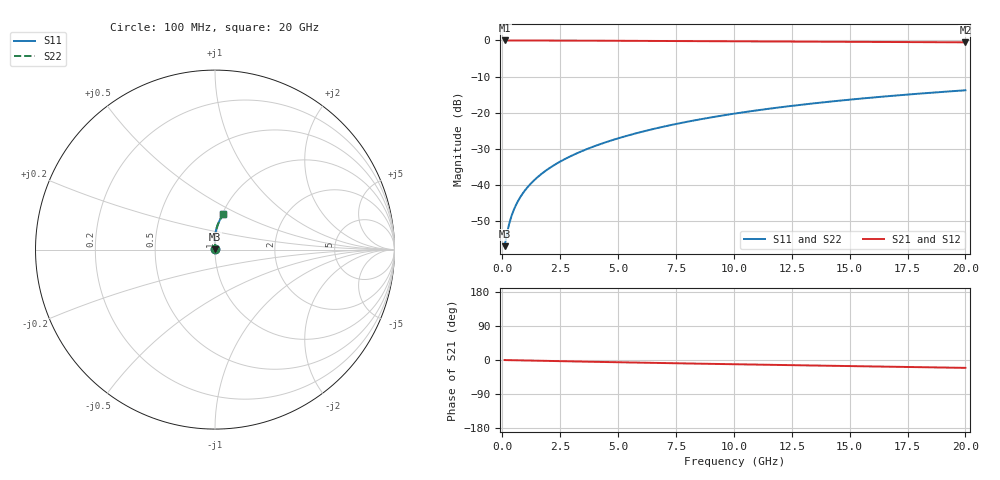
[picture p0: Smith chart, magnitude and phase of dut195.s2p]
! Touchstone file exported from HFSS 2024.1.0
!  File:  C:/UserFiles/LocalFiles/RDL_TSV_Batchsim/temp_RDL_top_195_1778686766.aedt
!  Generated:  11:41:40 PM May 13, 2026
!  Design:  RDL_top
!  Project:  temp_RDL_top_195_1778686766
!  Setup:  Setup1
!  Solution:  Sweep
! Variables:
!  dtsv = 10.80580581um
!  hbump = 3um
!  htsv = 90.23um
!  ldown = 100um
!  lrdl = 272.56um
!  p = 40
!  p1 = 53.72um
!  rhole = 1um
!  t = 450um
!  tdown = 3.915915916um
!  trdl = 4.2um
!  wdown = 15.38538539um
!  wrdl = 26.26um
# GHz S MA R 50.000000
! Terminal data exported
! Port[1] = Box2_T1
! Port[2] = Box2_T2
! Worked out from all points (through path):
!   200 points, 100 MHz to 20 GHz, reference 50 ohm
!   highest |S21| = -0.01 dB at 100 MHz (marker M1); lowest = -0.5 dB at 20 GHz (marker M2)
!   group delay of S21, straight-line fit = 2.84 ps
!   lowest |S11| = -57.0 dB at 100 MHz (marker M3), VSWR 1.00, Z = 50.1 + j0.0922 ohm
!   |S11| at or under -10 dB: start of sweep to end of sweep
!   |S22| runs from -57.0 to -13.8 dB; largest |S21 - S12| = 4.2e-15
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0.1  0.001417 40.5  0.9989 -0.1  0.9989 -0.1  0.001417 40.5
! Gamma 0 0 0 0
! Port Impedance 50 0 50 0
0.2  0.002121 59.2  0.9988 -0.3  0.9988 -0.3  0.002122 59.2
0.3  0.002915 67.8  0.9987 -0.4  0.9987 -0.4  0.002917 67.8
0.4  0.003726 72.5  0.9987 -0.5  0.9987 -0.5  0.003728 72.5
0.5  0.004536 75.5  0.9986 -0.6  0.9986 -0.6  0.004538 75.4
0.6  0.005342 77.5  0.9985 -0.8  0.9985 -0.8  0.005344 77.5
0.8  0.006946 80.3  0.9983 -1.0  0.9983 -1.0  0.006947 80.3
1.1  0.009355 82.9  0.998 -1.4  0.998 -1.4  0.009356 82.9
1.5  0.01261 85.2  0.9975 -1.9  0.9975 -1.9  0.01261 85.2
1.8  0.01509 86.5  0.9971 -2.2  0.9971 -2.2  0.01509 86.5
2.1  0.01761 87.4  0.9965 -2.6  0.9965 -2.6  0.01761 87.4
2.7  0.02276 88.8  0.9953 -3.3  0.9953 -3.3  0.02276 88.8
3.5  0.02989 90.0  0.9933 -4.3  0.9933 -4.3  0.02989 90.0
4.2  0.03638 90.6  0.9912 -5.1  0.9912 -5.1  0.03638 90.6
5  0.04407 90.9  0.9887 -6.0  0.9887 -6.0  0.04407 90.9
6.8  0.06229 90.6  0.9827 -7.9  0.9827 -7.9  0.0623 90.6
8.4  0.07927 89.6  0.9773 -9.6  0.9773 -9.6  0.07928 89.6
10.1  0.09776 88.0  0.9717 -11.3  0.9717 -11.3  0.09777 88.0
11.7  0.1153 86.3  0.9666 -12.9  0.9666 -12.9  0.1153 86.3
13.4  0.1339 84.3  0.9613 -14.5  0.9613 -14.5  0.134 84.3
16.7  0.1695 80.4  0.9512 -17.7  0.9512 -17.7  0.1696 80.4
20  0.204 76.6  0.9411 -20.8  0.9411 -20.8  0.204 76.6
